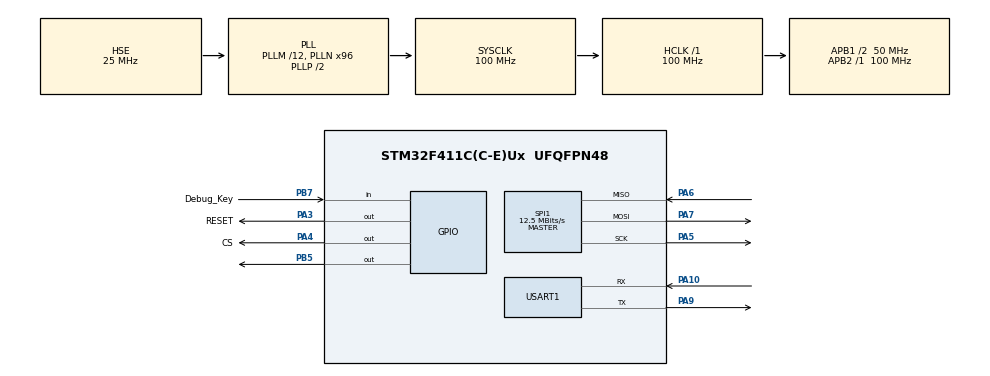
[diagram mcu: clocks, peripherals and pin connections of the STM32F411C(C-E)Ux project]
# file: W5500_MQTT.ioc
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Dma.Request0=USART1_TX
Dma.Request1=SPI1_TX
Dma.Request2=SPI1_RX
Dma.SPI1_RX.2.Direction=DMA_PERIPH_TO_MEMORY
Dma.SPI1_RX.2.FIFOMode=DMA_FIFOMODE_DISABLE
Dma.SPI1_RX.2.Instance=DMA2_Stream0
Dma.SPI1_RX.2.MemDataAlignment=DMA_MDATAALIGN_BYTE
Dma.SPI1_RX.2.MemInc=DMA_MINC_ENABLE
Dma.SPI1_RX.2.Mode=DMA_NORMAL
Dma.SPI1_RX.2.PeriphDataAlignment=DMA_PDATAALIGN_BYTE
Dma.SPI1_RX.2.PeriphInc=DMA_PINC_DISABLE
Dma.SPI1_RX.2.Priority=DMA_PRIORITY_LOW
Dma.SPI1_TX.1.Direction=DMA_MEMORY_TO_PERIPH
Dma.SPI1_TX.1.FIFOMode=DMA_FIFOMODE_DISABLE
Dma.SPI1_TX.1.Instance=DMA2_Stream2
Dma.SPI1_TX.1.MemDataAlignment=DMA_MDATAALIGN_BYTE
Dma.SPI1_TX.1.MemInc=DMA_MINC_ENABLE
Dma.SPI1_TX.1.Mode=DMA_NORMAL
Dma.SPI1_TX.1.PeriphDataAlignment=DMA_PDATAALIGN_BYTE
Dma.SPI1_TX.1.PeriphInc=DMA_PINC_DISABLE
Dma.SPI1_TX.1.Priority=DMA_PRIORITY_LOW
Dma.USART1_TX.0.Direction=DMA_MEMORY_TO_PERIPH
Dma.USART1_TX.0.FIFOMode=DMA_FIFOMODE_DISABLE
Dma.USART1_TX.0.Instance=DMA2_Stream7
Dma.USART1_TX.0.MemDataAlignment=DMA_MDATAALIGN_BYTE
Dma.USART1_TX.0.MemInc=DMA_MINC_ENABLE
Dma.USART1_TX.0.Mode=DMA_NORMAL
Dma.USART1_TX.0.PeriphDataAlignment=DMA_PDATAALIGN_BYTE
Dma.USART1_TX.0.PeriphInc=DMA_PINC_DISABLE
Dma.USART1_TX.0.Priority=DMA_PRIORITY_LOW
FREERTOS.Tasks01=defaultTask,24,128,StartDefaultTask,Default,NULL,Dynamic,NULL,NULL
Mcu.Family=STM32F4
Mcu.Name=STM32F411C(C-E)Ux
Mcu.Package=UFQFPN48
NVIC.DMA2_Stream0_IRQn=true\:5\:0\:false\:false\:true\:true\:false\:true\:true
NVIC.DMA2_Stream2_IRQn=true\:5\:0\:false\:false\:true\:true\:false\:true\:true
NVIC.DMA2_Stream7_IRQn=true\:5\:0\:false\:false\:true\:true\:false\:true\:true
NVIC.PriorityGroup=NVIC_PRIORITYGROUP_4
NVIC.SPI1_IRQn=true\:5\:0\:false\:false\:true\:true\:true\:true\:true
NVIC.TIM1_UP_TIM10_IRQn=true\:5\:0\:false\:false\:true\:true\:true\:true\:true
NVIC.TIM4_IRQn=true\:15\:0\:false\:false\:true\:false\:false\:true\:true
NVIC.TimeBase=TIM4_IRQn
NVIC.TimeBaseIP=TIM4
NVIC.USART1_IRQn=true\:5\:0\:false\:false\:true\:true\:true\:true\:true
PA10.Mode=Asynchronous
PA10.Signal=USART1_RX
PA13.Mode=Serial_Wire
PA13.Signal=SYS_JTMS-SWDIO
PA14.Mode=Serial_Wire
PA14.Signal=SYS_JTCK-SWCLK
PA3.GPIO_Label=RESET
PA3.GPIO_Speed=GPIO_SPEED_FREQ_VERY_HIGH
PA3.PinState=GPIO_PIN_SET
PA3.Signal=GPIO_Output
PA4.GPIO_Label=CS
PA4.GPIO_Speed=GPIO_SPEED_FREQ_VERY_HIGH
PA4.PinState=GPIO_PIN_SET
PA4.Signal=GPIO_Output
PA5.Mode=Full_Duplex_Master
PA5.Signal=SPI1_SCK
PA6.Mode=Full_Duplex_Master
PA6.Signal=SPI1_MISO
PA7.Mode=Full_Duplex_Master
PA7.Signal=SPI1_MOSI
PA9.Mode=Asynchronous
PA9.Signal=USART1_TX
PB5.Signal=GPIO_Output
PB7.GPIO_Label=Debug_Key
PB7.GPIO_PuPd=GPIO_PULLDOWN
PB7.Signal=GPIO_Input
PH0\ -\ OSC_IN.Mode=HSE-External-Oscillator
PH0\ -\ OSC_IN.Signal=RCC_OSC_IN
PH1\ -\ OSC_OUT.Mode=HSE-External-Oscillator
PH1\ -\ OSC_OUT.Signal=RCC_OSC_OUT
ProjectManager.HeapSize=0x200
ProjectManager.StackSize=0x1000
ProjectManager.TargetToolchain=MDK-ARM V5.32
RCC.48MHZClocksFreq_Value=50000000
RCC.AHBFreq_Value=100000000
RCC.APB1CLKDivider=RCC_HCLK_DIV2
RCC.APB1Freq_Value=50000000
RCC.APB1TimFreq_Value=100000000
RCC.APB2Freq_Value=100000000
RCC.APB2TimFreq_Value=100000000
RCC.CortexFreq_Value=100000000
RCC.HCLKFreq_Value=100000000
RCC.HSE_VALUE=25000000
RCC.HSI_VALUE=16000000
RCC.LSE_VALUE=32768
RCC.PLLM=12
RCC.PLLN=96
RCC.PLLSourceVirtual=RCC_PLLSOURCE_HSE
RCC.SYSCLKFreq_VALUE=100000000
RCC.SYSCLKSource=RCC_SYSCLKSOURCE_PLLCLK
RCC.VCOOutputFreq_Value=200000000
SPI1.BaudRatePrescaler=SPI_BAUDRATEPRESCALER_8
SPI1.CalculateBaudRate=12.5 MBits/s
SPI1.Direction=SPI_DIRECTION_2LINES
SPI1.Mode=SPI_MODE_MASTER
SPI1.VirtualType=VM_MASTER
TIM10.Period=100-1
TIM10.Prescaler=1000-1
TIM5.Prescaler=100-1
USART1.VirtualMode=VM_ASYNC
VP_FREERTOS_VS_CMSIS_V2.Mode=CMSIS_V2
VP_SYS_VS_tim4.Mode=TIM4
VP_TIM10_VS_ClockSourceINT.Mode=Enable_Timer
VP_TIM5_VS_ClockSourceINT.Mode=Internal
board=custom

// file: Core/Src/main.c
/* USER CODE BEGIN Header */
/**
  ******************************************************************************
  * @file           : main.c
  * @brief          : Main program body
  ******************************************************************************
  * @attention
  *
  * Copyright (c) 2026 STMicroelectronics.
  * All rights reserved.
  *
  * This software is licensed under terms that can be found in the LICENSE file
  * in the root directory of this software component.
  * If no LICENSE file comes with this software, it is provided AS-IS.
  *
  ******************************************************************************
  */
/* USER CODE END Header */
#include "main.h"
#include "cmsis_os.h"
#include "dma.h"
#include "spi.h"
#include "tim.h"
#include "usart.h"
#include "gpio.h"

/* USER CODE BEGIN Includes */
#include "debug_uart.h"

/* USER CODE END Includes */

void SystemClock_Config(void);
void MX_FREERTOS_Init(void);

/* USER CODE BEGIN 0 */
extern void DNS_time_handler(void);
extern void MilliTimer_Handler(void);
/* USER CODE END 0 */

int main(void)
{

  /* MCU Configuration--------------------------------------------------------*/

  /* Reset of all peripherals, Initializes the Flash interface and the Systick. */
  HAL_Init();

  /* Configure the system clock */
  SystemClock_Config();

  /* Initialize all configured peripherals */
  MX_GPIO_Init();
  MX_DMA_Init();
  MX_TIM10_Init();
  MX_USART1_UART_Init();
  MX_SPI1_Init();
  MX_TIM5_Init();
  /* USER CODE BEGIN 2 */
  if(HAL_GPIO_ReadPin(GPIOB, GPIO_PIN_7) != GPIO_PIN_RESET)
	  while(1);
  UART_Debug_Init(&huart1);
  HAL_TIM_Base_Start_IT(&htim10);
  /* USER CODE END 2 */

  /* Init scheduler */
  osKernelInitialize();  /* Call init function for freertos objects (in cmsis_os2.c) */
  MX_FREERTOS_Init();

  /* Start scheduler */
  osKernelStart();

  /* We should never get here as control is now taken by the scheduler */

  /* Infinite loop */
  while (1)
  {

  }
}

void SystemClock_Config(void)
{
  RCC_OscInitTypeDef RCC_OscInitStruct = {0};
  RCC_ClkInitTypeDef RCC_ClkInitStruct = {0};

  /** Configure the main internal regulator output voltage
  */
  __HAL_RCC_PWR_CLK_ENABLE();
  __HAL_PWR_VOLTAGESCALING_CONFIG(PWR_REGULATOR_VOLTAGE_SCALE1);

  /** Initializes the RCC Oscillators according to the specified parameters
  * in the RCC_OscInitTypeDef structure.
  */
  RCC_OscInitStruct.OscillatorType = RCC_OSCILLATORTYPE_HSE;
  RCC_OscInitStruct.HSEState = RCC_HSE_ON;
  RCC_OscInitStruct.PLL.PLLState = RCC_PLL_ON;
  RCC_OscInitStruct.PLL.PLLSource = RCC_PLLSOURCE_HSE;
  RCC_OscInitStruct.PLL.PLLM = 12;
  RCC_OscInitStruct.PLL.PLLN = 96;
  RCC_OscInitStruct.PLL.PLLP = RCC_PLLP_DIV2;
  RCC_OscInitStruct.PLL.PLLQ = 4;
  if (HAL_RCC_OscConfig(&RCC_OscInitStruct) != HAL_OK)
  {
    Error_Handler();
  }

  /** Initializes the CPU, AHB and APB buses clocks
  */
  RCC_ClkInitStruct.ClockType = RCC_CLOCKTYPE_HCLK|RCC_CLOCKTYPE_SYSCLK
                              |RCC_CLOCKTYPE_PCLK1|RCC_CLOCKTYPE_PCLK2;
  RCC_ClkInitStruct.SYSCLKSource = RCC_SYSCLKSOURCE_PLLCLK;
  RCC_ClkInitStruct.AHBCLKDivider = RCC_SYSCLK_DIV1;
  RCC_ClkInitStruct.APB1CLKDivider = RCC_HCLK_DIV2;
  RCC_ClkInitStruct.APB2CLKDivider = RCC_HCLK_DIV1;

  if (HAL_RCC_ClockConfig(&RCC_ClkInitStruct, FLASH_LATENCY_3) != HAL_OK)
  {
    Error_Handler();
  }
}

void HAL_TIM_PeriodElapsedCallback(TIM_HandleTypeDef *htim)
{
  if (htim->Instance == TIM4)
  {
    HAL_IncTick();
  }
  /* USER CODE BEGIN Callback 1 */
  if(htim == &htim10)
  {
    static uint32_t timer_1s = 0;
    MilliTimer_Handler();
    timer_1s++;
    if(timer_1s >= 1000)
    {
      timer_1s = 0;
      DNS_time_handler();
    }
  }
  /* USER CODE END Callback 1 */
}

void Error_Handler(void)
{
  __disable_irq();
  while (1)
  {
  }
}

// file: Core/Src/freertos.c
/* USER CODE BEGIN Header */
/**
  ******************************************************************************
  * File Name          : freertos.c
  * Description        : Code for freertos applications
  ******************************************************************************
  * @attention
  *
  * Copyright (c) 2026 STMicroelectronics.
  * All rights reserved.
  *
  * This software is licensed under terms that can be found in the LICENSE file
  * in the root directory of this software component.
  * If no LICENSE file comes with this software, it is provided AS-IS.
  *
  ******************************************************************************
  */
/* USER CODE END Header */

#include "FreeRTOS.h"
#include "task.h"
#include "main.h"
#include "cmsis_os.h"

/* USER CODE BEGIN Includes */
#include "monitor_task.h"
#include "debug_uart.h"
#include "wizchip_port.h"
#include "mqtt_driver.h"
/* USER CODE END Includes */

/* USER CODE BEGIN Variables */
extern TIM_HandleTypeDef htim10;
/* USER CODE END Variables */
/* Definitions for defaultTask */
osThreadId_t defaultTaskHandle;
const osThreadAttr_t defaultTask_attributes = {
  .name = "defaultTask",
  .stack_size = 128 * 4,
  .priority = (osPriority_t) osPriorityNormal,
};

/* USER CODE BEGIN FunctionPrototypes */
extern MQTTClient hclient1;
void test_task(void *argument)
{
  char payload1[100];
  int value = 10;
  while(1)
  {
      if(ONENET_MQTTPublish(&hclient1, pubtopic, payload1) == 0)
      {
        sprintf(payload1, "{\"id\":\"123\",\"version\":\"1.0\",\"params\":{\"test\":{\"value\":%d}}}", value);
        value += 5;
      }
      vTaskDelay(5000);
  }
}
/* USER CODE END FunctionPrototypes */

void StartDefaultTask(void *argument);

void MX_FREERTOS_Init(void); /* (MISRA C 2004 rule 8.1) */

void MX_FREERTOS_Init(void) {

  /* Create the thread(s) */
  /* creation of defaultTask */
  defaultTaskHandle = osThreadNew(StartDefaultTask, NULL, &defaultTask_attributes);

  /* USER CODE BEGIN RTOS_THREADS */
  /* add threads, ... */
  xTaskCreate(UART_Debug_Task, "UART_Debug_Task", 128, NULL, configMAX_PRIORITIES - 1, NULL);
  xTaskCreate(test_task, "test_task", 512, NULL, osPriorityNormal, NULL);
  xTaskCreate(ONENET_MQTT_Task, "ONENET_MQTT_Task", 512, NULL, osPriorityAboveNormal, NULL);
  //xTaskCreate(vMonitorTask, "vMonitorTask", 512, NULL, osPriorityBelowNormal, NULL);
  /* USER CODE END RTOS_THREADS */

}

void StartDefaultTask(void *argument)
{
  /* USER CODE BEGIN StartDefaultTask */

  /* Infinite loop */
  for(;;)
  {
    HAL_GPIO_TogglePin(GPIOB, GPIO_PIN_5);
    vTaskDelay(5);
  }
  /* USER CODE END StartDefaultTask */
}

/* USER CODE BEGIN Application */
void HAL_UART_TxCpltCallback(UART_HandleTypeDef *huart)
{
    Debug_UART_Callback(huart);
}

void HAL_SPI_TxRxCpltCallback(SPI_HandleTypeDef *hspi)
{
  W5500_TxRxCpltCallback(hspi);
}
/* USER CODE END Application */
